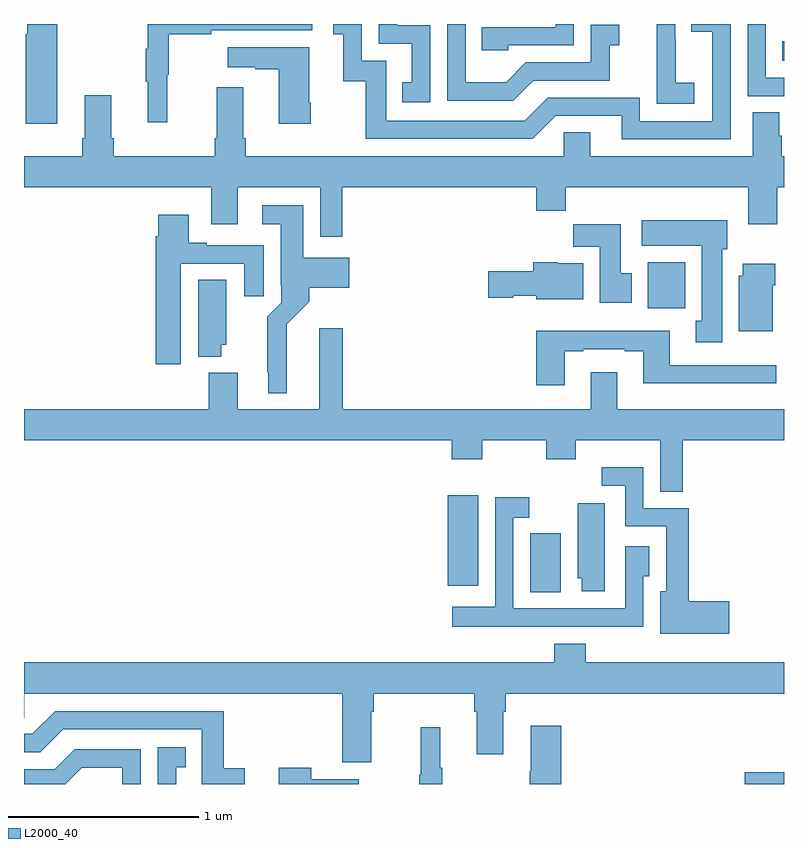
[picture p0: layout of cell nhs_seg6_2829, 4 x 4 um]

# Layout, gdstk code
import gdstk
lib = gdstk.Library(unit=1e-6, precision=1e-09)
def R(c, l, rs):  # rectangles x0, y0, x1, y1
    for r in rs: c.add(gdstk.rectangle(r[:2], r[2:], *l))
def P(c, l, *ps):  # polygons
    for p in ps: c.add(gdstk.Polygon(p, *l))
L2000_40 = (2000, 40)

nhs_seg6_2829 = lib.new_cell('nhs_seg6_2829')
R(nhs_seg6_2829, L2000_40, [(280.794,973.5,281,973.563), (279.665,974.509,279.826,974.82), (279.23,974.544,279.391,975.019), (280.283,976.004,280.48,976.246), (280.99,977.306,281,977.41)])
P(nhs_seg6_2829, L2000_40, [(280.719,977.5),(280.513,977.5),(280.513,977.458),(280.623,977.458),(280.623,976.989),(280.242,976.989),(280.242,977.112),(279.756,977.112),(279.636,976.992),(278.907,976.992),(278.907,977.307),(278.778,977.307),(278.778,977.5),(278.628,977.5),(278.628,977.445),(278.681,977.445),(278.681,977.199),(278.799,977.199),(278.799,976.896),(279.678,976.896),(279.798,977.016),(280.145,977.016),(280.145,976.893),(280.719,976.893)],
  [(281,977.217),(280.905,977.217),(280.905,977.5),(280.809,977.5),(280.809,977.121),(281,977.121)],
  [(279.679,977.202),(280.083,977.202),(280.083,977.387),(280.132,977.387),(280.132,977.497),(279.984,977.497),(279.984,977.298),(279.642,977.298),(279.538,977.194),(279.324,977.194),(279.324,977.5),(279.228,977.5),(279.228,977.097),(279.574,977.097)],
  [(277.174,977.5),(277.016,977.5),(277.016,977.445),(277.01,977.445),(277.01,976.974),(277.174,976.974)],
  [(280.528,977.191),(280.43,977.191),(280.43,977.42),(280.428,977.42),(280.428,977.5),(280.331,977.5),(280.331,977.287),(280.33,977.287),(280.33,977.081),(280.528,977.081)],
  [(279.549,977.388),(279.894,977.388),(279.894,977.5),(279.798,977.5),(279.798,977.484),(279.409,977.484),(279.409,977.361),(279.549,977.361)],
  [(279.138,977.493),(278.964,977.493),(278.964,977.5),(278.868,977.5),(278.868,977.397),(279.041,977.397),(279.041,977.193),(278.992,977.193),(278.992,977.088),(279.138,977.088)],
  [(277.754,977.232),(277.762,977.232),(277.762,977.446),(277.985,977.446),(277.985,977.466),(278.518,977.466),(278.518,977.5),(277.652,977.5),(277.652,977.369),(277.641,977.369),(277.641,977.195),(277.652,977.195),(277.652,976.983),(277.754,976.983)],
  [(278.508,977.086),(278.5,977.086),(278.5,977.377),(278.073,977.377),(278.073,977.273),(278.216,977.273),(278.216,977.263),(278.342,977.263),(278.342,976.974),(278.508,976.974)],
  [(278.675,976.64),(279.695,976.64),(279.695,976.516),(279.851,976.516),(279.851,976.64),(280.811,976.64),(280.811,976.446),(280.964,976.446),(280.964,976.64),(281,976.64),(281,976.804),(280.988,976.804),(280.988,976.913),(280.974,976.913),(280.974,977.036),(280.835,977.036),(280.835,976.804),(279.979,976.804),(279.979,976.931),(279.84,976.931),(279.84,976.804),(278.168,976.804),(278.168,976.9),(278.155,976.9),(278.155,977.167),(278.015,977.167),(278.015,976.9),(278.003,976.9),(278.003,976.804),(277.472,976.804),(277.472,976.9),(277.459,976.9),(277.459,977.125),(277.319,977.125),(277.319,976.9),(277.307,976.9),(277.307,976.804),(277,976.804),(277,976.64),(277.985,976.64),(277.985,976.446),(278.125,976.446),(278.125,976.64),(278.559,976.64),(278.559,976.38),(278.675,976.38)],
  [(278.383,975.92),(278.501,976.038),(278.501,976.112),(278.713,976.112),(278.713,976.27),(278.47,976.27),(278.47,976.546),(278.253,976.546),(278.253,976.445),(278.351,976.445),(278.351,976.126),(278.355,976.126),(278.355,976.032),(278.281,975.958),(278.281,975.667),(278.285,975.667),(278.285,975.557),(278.383,975.557)],
  [(277.825,976.239),(278.159,976.239),(278.159,976.068),(278.263,976.068),(278.263,976.335),(277.963,976.335),(277.963,976.348),(277.867,976.348),(277.867,976.495),(277.706,976.495),(277.706,976.382),(277.694,976.382),(277.694,975.708),(277.825,975.708)],
  [(280.675,976.314),(280.702,976.314),(280.702,976.468),(280.251,976.468),(280.251,976.334),(280.568,976.334),(280.568,975.938),(280.535,975.938),(280.535,975.825),(280.675,975.825)],
  [(280.198,976.188),(280.141,976.188),(280.141,976.447),(279.892,976.447),(279.892,976.328),(280.031,976.328),(280.031,976.032),(280.198,976.032)],
  [(279.943,976.24),(279.81,976.24),(279.81,976.246),(279.68,976.246),(279.68,976.2),(279.444,976.2),(279.444,976.058),(279.576,976.058),(279.576,976.07),(279.696,976.07),(279.696,976.052),(279.943,976.052)],
  [(280.942,976.124),(280.955,976.124),(280.955,976.237),(280.784,976.237),(280.784,976.176),(280.763,976.176),(280.763,975.884),(280.942,975.884)],
  [(278.038,975.813),(278.065,975.813),(278.065,976.154),(277.916,976.154),(277.916,975.749),(278.038,975.749)],
  [(280.468,975.308),(281,975.308),(281,975.472),(280.123,975.472),(280.123,975.667),(279.983,975.667),(279.983,975.472),(278.678,975.472),(278.678,975.898),(278.555,975.898),(278.555,975.472),(278.125,975.472),(278.125,975.664),(277.973,975.664),(277.973,975.472),(277,975.472),(277,975.308),(279.251,975.308),(279.251,975.209),(279.411,975.209),(279.411,975.308),(279.748,975.308),(279.748,975.209),(279.903,975.209),(279.903,975.308),(280.349,975.308),(280.349,975.037),(280.468,975.037)],
  [(279.847,975.777),(279.943,975.777),(279.943,975.789),(280.163,975.789),(280.163,975.777),(280.259,975.777),(280.259,975.608),(280.96,975.608),(280.96,975.705),(280.399,975.705),(280.399,975.886),(279.695,975.886),(279.695,975.6),(279.847,975.6)],
  [(280.711,974.462),(280.498,974.462),(280.498,974.952),(280.26,974.952),(280.26,975.166),(280.041,975.166),(280.041,975.069),(280.164,975.069),(280.164,974.856),(280.379,974.856),(280.379,974.515),(280.349,974.515),(280.349,974.291),(280.711,974.291)],
  [(279.673,974.328),(280.039,974.328),(280.039,974.327),(280.26,974.327),(280.26,974.593),(280.291,974.593),(280.291,974.752),(280.164,974.752),(280.164,974.424),(279.576,974.424),(279.576,974.901),(279.658,974.901),(279.658,975.01),(279.48,975.01),(279.48,974.434),(279.255,974.434),(279.255,974.327),(279.673,974.327)],
  [(280.057,974.977),(279.914,974.977),(279.914,974.583),(279.935,974.583),(279.935,974.514),(280.057,974.514)],
  [(278.827,973.88),(278.84,973.88),(278.84,973.976),(279.371,973.976),(279.371,973.88),(279.383,973.88),(279.383,973.656),(279.523,973.656),(279.523,973.88),(279.536,973.88),(279.536,973.976),(281,973.976),(281,974.14),(279.956,974.14),(279.956,974.239),(279.791,974.239),(279.791,974.14),(277,974.14),(277,973.849),(277.002,973.849),(277.002,973.976),(278.675,973.976),(278.675,973.614),(278.827,973.614)],
  [(278.162,973.582),(278.051,973.582),(278.051,973.884),(277.164,973.884),(277.044,973.764),(277,973.764),(277,973.668),(277.086,973.668),(277.206,973.788),(277.935,973.788),(277.935,973.5),(278.162,973.5)],
  [(279.827,973.807),(279.668,973.807),(279.668,973.568),(279.661,973.568),(279.661,973.5),(279.827,973.5)],
  [(279.202,973.585),(279.191,973.585),(279.191,973.798),(279.088,973.798),(279.088,973.548),(279.081,973.548),(279.081,973.5),(279.202,973.5)],
  [(277.801,973.587),(277.85,973.587),(277.85,973.693),(277.704,973.693),(277.704,973.5),(277.801,973.5)],
  [(277.304,973.586),(277.518,973.586),(277.518,973.5),(277.614,973.5),(277.614,973.683),(277.268,973.683),(277.163,973.578),(277,973.578),(277,973.5),(277.218,973.5)],
  [(278.761,973.525),(278.513,973.525),(278.513,973.585),(278.342,973.585),(278.342,973.5),(278.761,973.5)])

lib.write_gds('nhs_seg6_2829.gds')
